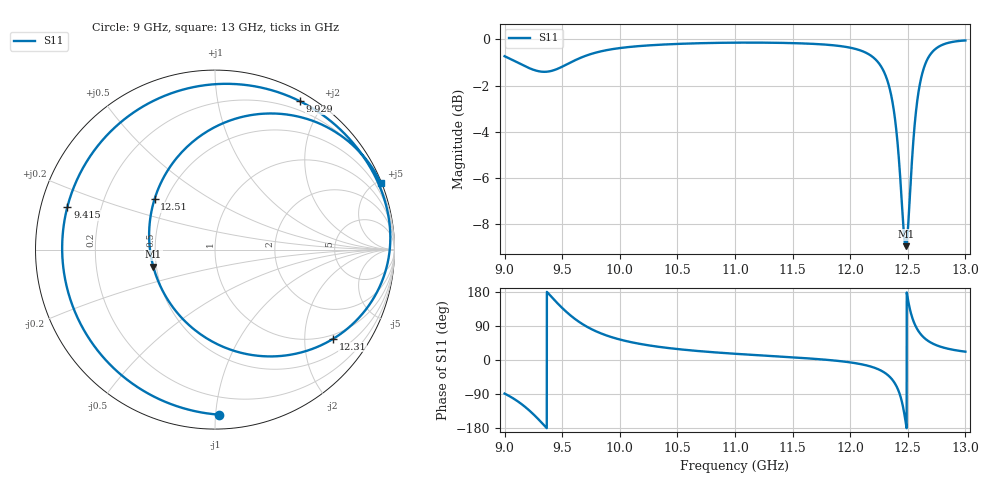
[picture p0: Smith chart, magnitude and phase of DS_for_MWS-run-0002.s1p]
! TOUCHSTONE file generated by CST DESIGN STUDIO
! Date and time: Tue Feb  4 17:42:31 2025
! Project name: C:\Work\MatlabApps\UnitCellOptimizationMatlab\CST\unitcell.cst
! Tree item: Tasks\Sweep1\SPara1\S-Parameters
! Header version: 2024
! Port assignment regex: !\s*Touchstone port\s*([0-9]+)\s*=\s*(CST MWS port|CST DES external port|CST DES block port)\s*(.+)\s* \(\"(.*)\"\)(\s*mode\s*([0-9]+))?.*
! Touchstone port assignment:
! Touchstone port 1 = CST DES external port 1 ("")
# GHz S MA R 50
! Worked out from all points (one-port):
!   4001 points, 9 GHz to 13 GHz, reference 50 ohm
!   lowest |S11| = -9.0 dB at 12.48 GHz (marker M1), VSWR 2.11, Z = 24 - j5.22 ohm
!   |S11| at or under -10 dB: nowhere
!   S11 on the Smith chart (normalised r, x): 9 GHz: 0.09, -1.02; 9.415 GHz: 0.08, +0.14; 9.929 GHz: 0.10, +1.72; 12.31 GHz: 0.88, -2.74; 12.51 GHz: 0.43, +0.30; 13 GHz: 0.07, +5.16
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9  0.92 -88.6
9.111  0.8918 -108.5
9.205  0.8688 -130.7
9.319  0.8518 -164.5
9.415  0.8561 163.9
9.5  0.8732 137.3
9.581  0.8939 115.4
9.669  0.9148 96.1
9.929  0.9525 60.3
10  0.9582 54.1
10.5  0.9782 28.9
11  0.9844 16.4
11.5  0.9821 7.0
12  0.96 -6.3
12.199  0.9151 -19.2
12.315  0.8257 -36.9
12.367  0.7323 -52.5
12.415  0.5821 -77.8
12.448  0.444 -109.2
12.482  0.3567 -164.6
12.5  0.385 161.9
12.514  0.4391 140.0
12.549  0.6071 102.8
12.584  0.7427 80.4
12.638  0.8653 59.7
12.697  0.9292 46.5
12.815  0.9771 32.3
13  0.9952 21.9
